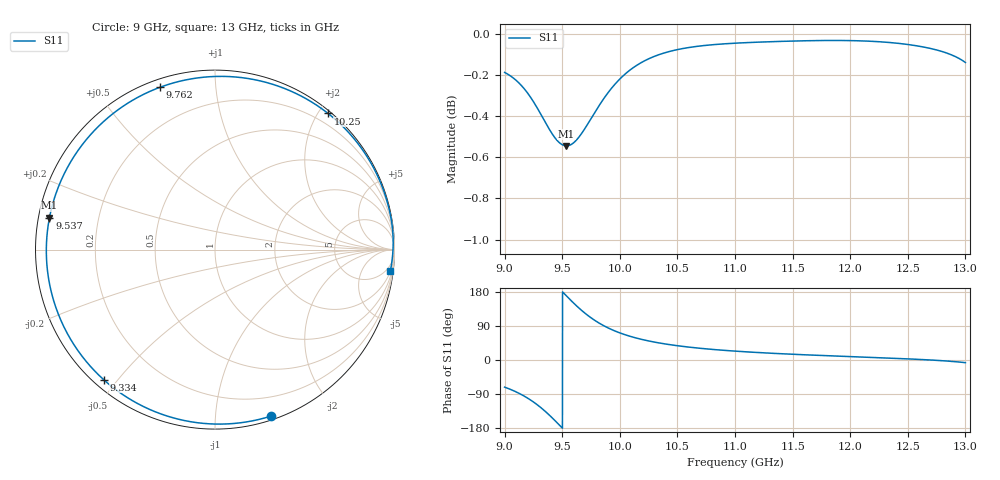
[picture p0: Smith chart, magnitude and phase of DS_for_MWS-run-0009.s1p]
! TOUCHSTONE file generated by CST DESIGN STUDIO
! Date and time: Tue Feb  4 13:51:29 2025
! Project name: C:\Work\MatlabApps\UnitCellOptimizationMatlab\CST\unitcell.cst
! Tree item: Tasks\Sweep1\SPara1\S-Parameters
! Header version: 2024
! Port assignment regex: !\s*Touchstone port\s*([0-9]+)\s*=\s*(CST MWS port|CST DES external port|CST DES block port)\s*(.+)\s* \(\"(.*)\"\)(\s*mode\s*([0-9]+))?.*
! Touchstone port assignment:
! Touchstone port 1 = CST DES external port 1 ("")
# GHz S MA R 50
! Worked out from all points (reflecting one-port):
!   4001 points, 9 GHz to 13 GHz, reference 50 ohm
!   lowest |S11| = -0.5 dB at 9.537 GHz (marker M1), VSWR 31.90, Z = 1.58 + j4.78 ohm
!   phase of S11 starts at -72 deg and turns -295 deg over the sweep
!   S11 on the Smith chart (normalised r, x): 9 GHz: 0.03, -1.39; 9.334 GHz: 0.03, -0.46; 9.537 GHz: 0.03, +0.10; 9.762 GHz: 0.03, +0.72; 10.25 GHz: 0.04, +2.13; 13 GHz: 2, -16
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9  0.9786 -71.6
9.092  0.9747 -83.0
9.196  0.9677 -99.9
9.268  0.9609 -114.6
9.334  0.9538 -130.6
9.378  0.949 -142.5
9.425  0.9445 -156.2
9.463  0.9416 -167.8
9.5  0.9398 -179.4
9.537  0.9392 169.1
9.59  0.9404 152.9
9.652  0.9444 135.3
9.706  0.9492 121.5
9.762  0.9548 108.8
9.81  0.9596 99.3
9.864  0.9647 90.0
9.931  0.9702 80.1
10  0.975 71.5
10.117  0.9812 60.1
10.25  0.9861 50.3
10.5  0.9912 37.7
10.721  0.9934 30.2
11  0.9948 23.4
11.5  0.9959 15.1
12  0.9962 9.0
12.5  0.994 3.0
12.787  0.9903 -1.6
13  0.9841 -7.1
